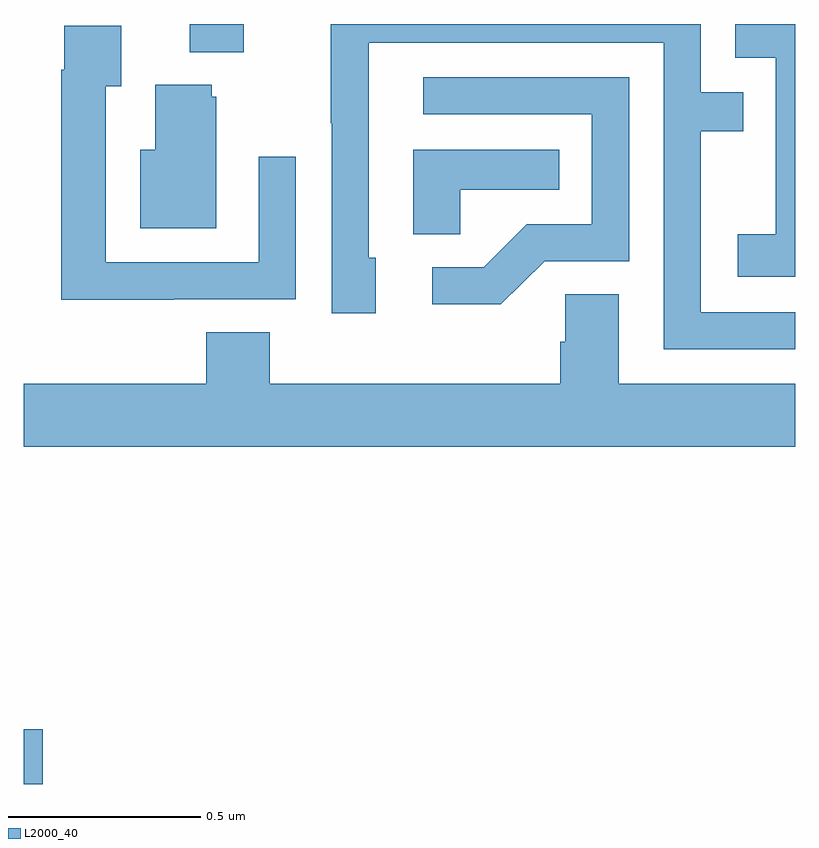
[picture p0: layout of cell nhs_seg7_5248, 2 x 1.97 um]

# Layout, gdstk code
import gdstk
lib = gdstk.Library(unit=1e-6, precision=1e-09)
def R(c, l, rs):  # rectangles x0, y0, x1, y1
    for r in rs: c.add(gdstk.rectangle(r[:2], r[2:], *l))
def P(c, l, *ps):  # polygons
    for p in ps: c.add(gdstk.Polygon(p, *l))
L2000_40 = (2000, 40)

nhs_seg7_5248 = lib.new_cell('nhs_seg7_5248')
R(nhs_seg7_5248, L2000_40, [(183,1045.03,183.049,1045.172), (183.431,1046.927,183.571,1047)])
P(nhs_seg7_5248, L2000_40, [(185,1046.253),(184.755,1046.253),(184.755,1046.722),(184.865,1046.722),(184.865,1046.823),(184.755,1046.823),(184.755,1047),(183.796,1047),(183.796,1046.743),(183.798,1046.743),(183.798,1046.25),(183.913,1046.25),(183.913,1046.394),(183.894,1046.394),(183.894,1046.952),(184.659,1046.952),(184.659,1046.157),(185,1046.157)],
  [(185,1047),(184.845,1047),(184.845,1046.913),(184.95,1046.913),(184.95,1046.684),(184.949,1046.684),(184.949,1046.455),(184.851,1046.455),(184.851,1046.345),(185,1046.345)],
  [(183.389,1046.286),(183.705,1046.286),(183.705,1046.656),(183.609,1046.656),(183.609,1046.382),(183.213,1046.382),(183.213,1046.839),(183.253,1046.839),(183.253,1046.995),(183.105,1046.995),(183.105,1046.882),(183.097,1046.882),(183.097,1046.285),(183.389,1046.285)],
  [(184.35,1046.385),(184.569,1046.385),(184.569,1046.862),(184.035,1046.862),(184.035,1046.766),(184.473,1046.766),(184.473,1046.481),(184.304,1046.481),(184.193,1046.37),(184.059,1046.37),(184.059,1046.273),(184.237,1046.273)],
  [(183.499,1046.811),(183.488,1046.811),(183.488,1046.842),(183.341,1046.842),(183.341,1046.674),(183.302,1046.674),(183.302,1046.471),(183.499,1046.471)],
  [(184.131,1046.57),(184.388,1046.57),(184.388,1046.674),(184.01,1046.674),(184.01,1046.455),(184.131,1046.455)],
  [(185,1046.068),(184.543,1046.068),(184.543,1046.3),(184.404,1046.3),(184.404,1046.177),(184.391,1046.177),(184.391,1046.068),(183.638,1046.068),(183.638,1046.201),(183.473,1046.201),(183.473,1046.068),(183,1046.068),(183,1045.904),(185,1045.904)])

lib.write_gds('nhs_seg7_5248.gds')
